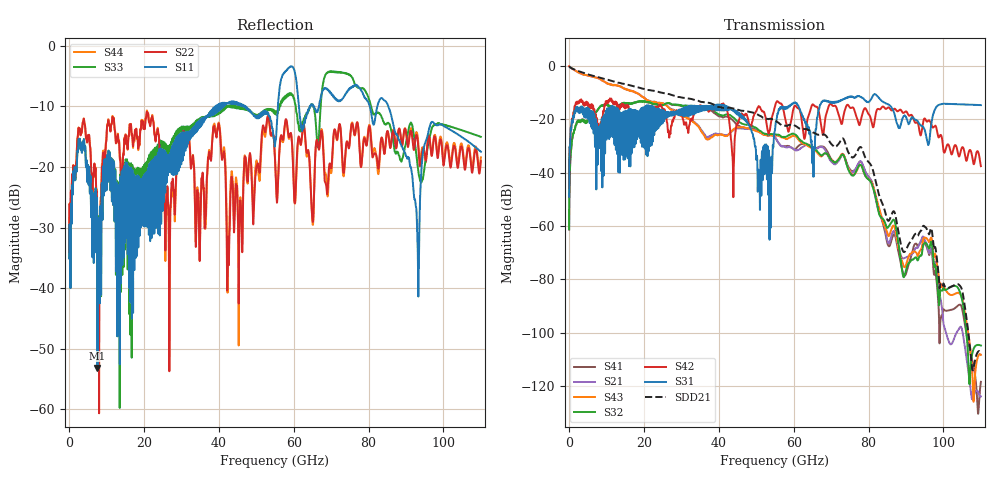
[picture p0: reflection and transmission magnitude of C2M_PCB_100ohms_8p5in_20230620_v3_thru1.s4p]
! Info: Touchstone file created by Circ.  Input file=C2M_PCB_100ohms_8p5in_20230620_v3.circ
# Hz S RI R 50
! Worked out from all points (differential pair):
!   11000 points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, 10 MHz to 110 GHz, reference 50 ohm
!   strongest paths, dB at 10 MHz, 27.51 GHz, 55.01 GHz, 82.51 GHz, 110 GHz:
!     S31: -49.1, -18.6, -24.1, -11.6, -14.7
!     S42: -49.0, -21.1, -15.2, -16.1, -37.6
!     S32: -61.3, -14.4, -25.7, -53.7, -104.7
!     S43: -0.1, -16.6, -26.0, -51.8, -108.2
!     S21: -0.1, -16.3, -26.7, -53.6, -123.8
!     S41: -61.2, -14.6, -26.8, -52.6, -118.4
!   taken as a pair (ports 3,1 in; 4,2 out), SDD21 dB: -0.1, -11.0, -20.3, -46.9, -107.5
!   lowest |S11| = -53.2 dB at 7.59 GHz (marker M1), VSWR 1.00, Z = 50 - j0.22 ohm
!   |S11| at or under -10 dB: start of sweep to 39.17 GHz; 47.2 GHz to 55.78 GHz (8.577 GHz wide, 16.7 % of centre); 85.27 GHz to end of sweep (the widest 3 of 16)
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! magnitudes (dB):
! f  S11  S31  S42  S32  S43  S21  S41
! 10 MHz  -35.1  -49.1  -49.0  -61.3  -0.1  -0.1  -61.2
! 7.59 GHz  -53.2  -30.4  -23.6  -16.6  -4.6  -4.6  -16.6
! 42.52 GHz  -9.5  -16.0  -18.5  -18.3  -25.9  -25.8  -19.2
! 50.86 GHz  -11.8  -41.5  -15.3  -24.2  -24.8  -24.5  -24.9
! 77.9 GHz  -7.2  -11.6  -20.6  -37.1  -37.2  -35.7  -35.9
! 89.48 GHz  -17.3  -18.8  -17.5  -79.0  -75.3  -72.1  -78.4
! 110 GHz  -17.5  -14.7  -37.6  -104.7  -108.2  -123.8  -118.4
